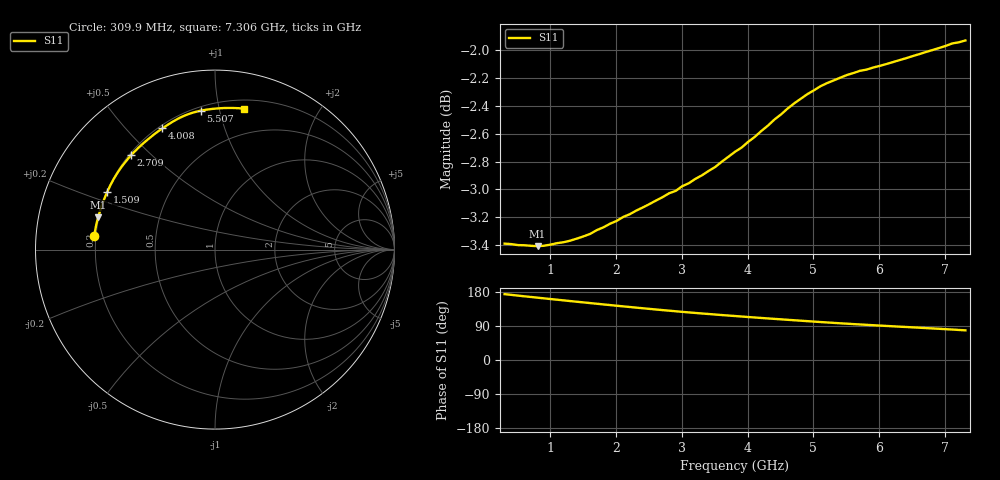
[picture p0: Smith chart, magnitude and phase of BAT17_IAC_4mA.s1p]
! Infineon Technologies  Discrete & RF Semiconductors
! BAT17
! IAC = 4 mA
! One-Port S-Parameters
# Hz  S  MA  R  50
!f  S11
!Hz  Mag  Ang
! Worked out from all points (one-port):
!   71 points, 309.9 MHz to 7.306 GHz, reference 50 ohm
!   lowest |S11| = -3.4 dB at 809.6 MHz (marker M1), VSWR 5.16, Z = 9.86 + j6.56 ohm
!   |S11| at or under -10 dB: nowhere
!   S11 on the Smith chart (normalised r, x): 309.9 MHz: 0.19, +0.05; 1.509 GHz: 0.20, +0.24; 2.709 GHz: 0.21, +0.43; 4.008 GHz: 0.22, +0.64; 5.507 GHz: 0.22, +0.88; 7.306 GHz: 0.27, +1.19
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3.0985e8  0.6767 173.8
6.097e8  0.6758 168.1
8.096e8  0.6753 164.5
1.0095e9  0.6762 160.8
1.10945e9  0.6771 159.1
1.2094e9  0.6776 157.3
1.50925e9  0.6809 152.0
1.8091e9  0.6859 146.7
2.10895e9  0.6919 141.6
2.30885e9  0.6956 138.2
2.70865e9  0.7033 131.7
3.0085e9  0.7098 127.1
3.30835e9  0.7163 122.7
3.6082e9  0.7243 118.6
3.8081e9  0.7303 116.0
4.008e9  0.7363 113.4
4.4078e9  0.7501 108.5
4.70765e9  0.7602 104.9
4.90755e9  0.7661 102.5
5.10745e9  0.7711 100.2
5.4073e9  0.7766 96.8
5.50725e9  0.7783 95.8
5.6072e9  0.7796 94.7
6.007e9  0.7842 90.8
6.50675e9  0.7906 86.1
6.8066e9  0.7946 83.3
7.10645e9  0.7989 80.4
7.30635e9  0.8009 78.3
